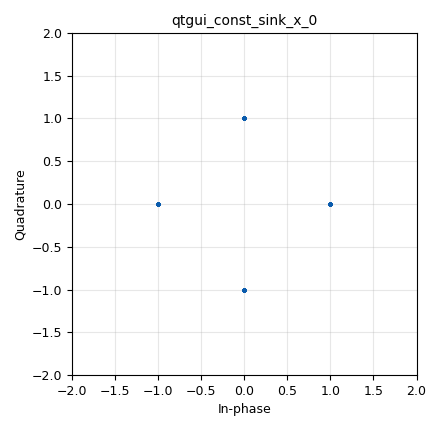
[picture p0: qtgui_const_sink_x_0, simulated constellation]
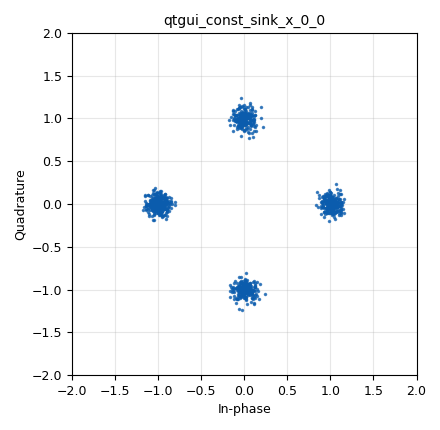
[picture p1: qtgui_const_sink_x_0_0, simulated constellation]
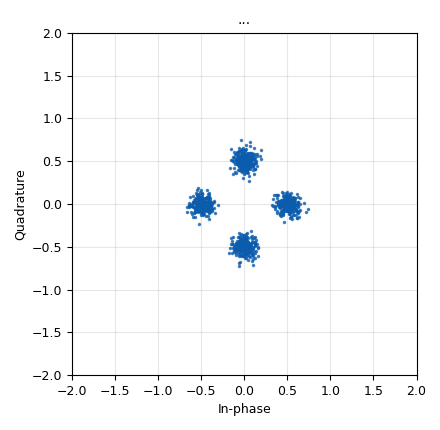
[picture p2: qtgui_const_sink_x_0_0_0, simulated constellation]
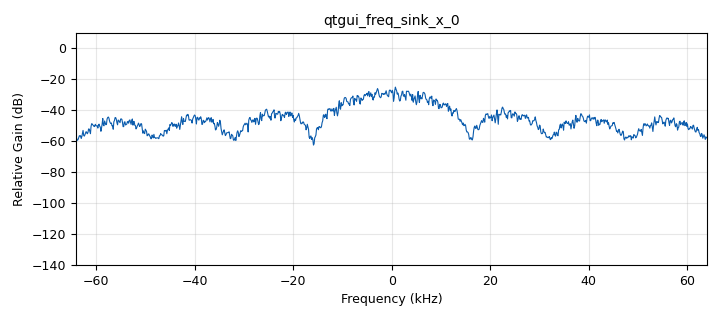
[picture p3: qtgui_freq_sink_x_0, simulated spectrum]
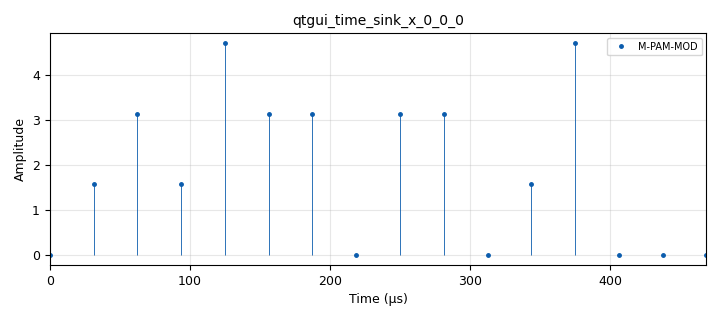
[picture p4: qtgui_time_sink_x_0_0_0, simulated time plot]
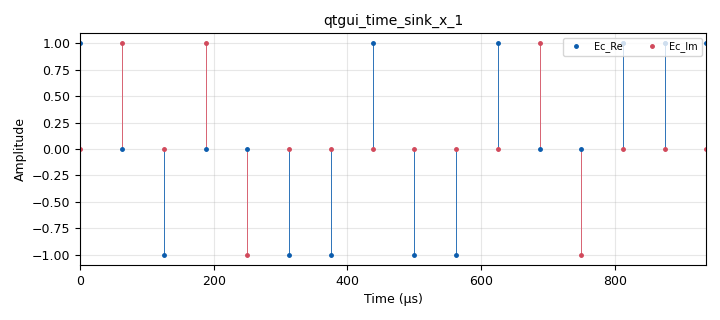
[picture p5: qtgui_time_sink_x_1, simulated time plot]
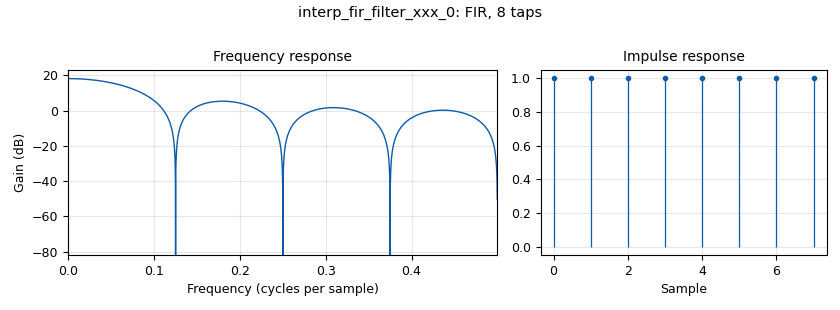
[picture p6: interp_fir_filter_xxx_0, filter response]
options:
  parameters:
    generate_options: qt_gui
    id: untitled
    output_language: python
    title: Not titled yet
  states: {}

blocks:
- name: H
  id: variable
  parameters:
    value: '[1,1,1,1,1,1,1,1]'
  states: {}
- name: M
  id: variable
  parameters:
    value: '4'
  states: {}
- name: Nbs
  id: variable
  parameters:
    value: int(math.log(M,2))
  states: {}
- name: Rb
  id: variable
  parameters:
    value: '32000'
  states: {}
- name: Rs
  id: variable
  parameters:
    value: Rb/Nbs
  states: {}
- name: Sps
  id: variable
  parameters:
    value: len(H)
  states: {}
- name: samp_rate
  id: variable
  parameters:
    value: Rs*Sps
  states: {}
- name: analog_const_source_x_0
  id: analog_const_source_x
  parameters:
    const: '1.'
    type: float
  states: {}
- name: analog_noise_source_x_0
  id: analog_noise_source_x
  parameters:
    amp: '0.1'
    noise_type: analog.GR_GAUSSIAN
    seed: '0'
    type: complex
  states: {}
- name: analog_noise_source_x_0_0
  id: analog_noise_source_x
  parameters:
    amp: '0.1'
    noise_type: analog.GR_GAUSSIAN
    seed: '0'
    type: complex
  states: {}
- name: analog_random_source_x_0
  id: analog_random_source_x
  parameters:
    max: '2'
    min: '0'
    num_samps: '1000'
    repeat: 'True'
    type: byte
  states: {}
- name: analog_random_source_x_0_0
  id: analog_random_source_x
  parameters:
    max: '4'
    min: '0'
    num_samps: '1000'
    repeat: 'True'
    type: byte
  states: {state: disabled}
- name: blocks_add_xx_0
  id: blocks_add_xx
  parameters:
    type: complex
  states: {}
- name: blocks_add_xx_0_0
  id: blocks_add_xx
  parameters:
    type: complex
  states: {}
- name: blocks_char_to_float_0
  id: blocks_char_to_float
  parameters:
    scale: '1'
  states: {state: disabled}
- name: blocks_char_to_float_0_0
  id: blocks_char_to_float
  parameters:
    scale: '1'
  states: {}
- name: blocks_char_to_float_0_0_0
  id: blocks_char_to_float
  parameters:
    scale: '1'
  states: {state: disabled}
- name: blocks_multiply_const_vxx_0
  id: blocks_multiply_const_vxx
  parameters:
    const: 2*math.pi/M
    type: float
  states: {}
- name: blocks_repack_bits_bb_0
  id: blocks_repack_bits_bb
  parameters:
    endianness: gr.GR_LSB_FIRST
    k: '1'
    l: Nbs
  states: {}
- name: blocks_repack_bits_bb_0_0
  id: blocks_repack_bits_bb
  parameters:
    endianness: gr.GR_LSB_FIRST
    k: '2'
    l: Nbs
  states: {}
- name: blocks_vector_source_x_1
  id: blocks_vector_source_x
  parameters:
    repeat: 'True'
    type: byte
    vector: (0, 1, 2, 3)
  states: {}
- name: digital_chunks_to_symbols_xx_0
  id: digital_chunks_to_symbols_xx
  parameters:
    dimension: '1'
    in_type: byte
    out_type: complex
    symbol_table: '[0.5, 0.5j,-0.5, -0.5j]'
  states: {}
- name: epy_block_0
  id: epy_block
  parameters:
    _source_code: "\n\nimport numpy as np\nfrom gnuradio import gr\n\nclass blk(gr.sync_block):  \n    \"\"\"This block is a Complex Exponential (CE) Voltage-Controlled Oscillator (VCO) or Baseband VCO. \n    It works by generating a complex exponential signal with amplitude and phase modulation.\n    \"\"\"\n\n    def __init__(self,):  \n        # Initialize the sync block with the specified input and output signal types\n        gr.sync_block.__init__(\n            self,\n            name='VCO Complex',  # Name of the block\n            in_sig=[np.float32, np.float32],  # Input: two float32 arrays (amplitude and phase)\n            out_sig=[np.complex64]  # Output: one complex64 array (modulated signal in complex form)\n        )\n        \n    def work(self, input_items, output_items):\n        # Get the amplitude (A) and phase (Q) from the input items\n        A = input_items[0]  # Amplitude input signal\n        Q = input_items[1]  # Phase input signal\n        Sec = output_items[0]  # Output signal array (modulated complex signal)\n\n        \n        # Generate the complex exponential output signal using the formula:\n        # y = A * exp(j*Q)\n        Sec[:] = A * np.exp(1j * Q)  # complex exponential signal\n        \n        \n        return len(Sec)"
  states: {}
- name: import_0
  id: import
  parameters:
    imports: import math
  states: {}
- name: interp_fir_filter_xxx_0
  id: interp_fir_filter_xxx
  parameters:
    interp: Sps
    taps: H
    type: ccc
  states: {}
- name: interp_fir_filter_xxx_0_0
  id: interp_fir_filter_xxx
  parameters:
    interp: Sps
    taps: H
    type: ccc
  states: {}
- name: qtgui_const_sink_x_0
  id: qtgui_const_sink_x
  parameters:
    size: '1024'
    type: complex
  states: {}
- name: qtgui_const_sink_x_0_0
  id: qtgui_const_sink_x
  parameters:
    size: '1024'
    type: complex
  states: {}
- name: qtgui_const_sink_x_0_0_0
  id: qtgui_const_sink_x
  parameters:
    name: '"..."'
    size: '1024'
    type: complex
  states: {}
- name: qtgui_freq_sink_x_0
  id: qtgui_freq_sink_x
  parameters:
    average: '0.05'
    bw: samp_rate
    fc: '0'
    fftsize: '1024'
    type: complex
  states: {}
- name: qtgui_time_sink_x_0
  id: qtgui_time_sink_x
  parameters:
    autoscale: 'True'
    grid: 'True'
    label1: Señal Binaria
    marker1: '0'
    size: '16'
    srate: Rb
    stemplot: 'True'
    type: float
  states: {state: disabled}
- name: qtgui_time_sink_x_0_0
  id: qtgui_time_sink_x
  parameters:
    autoscale: 'True'
    color1: dark blue
    grid: 'True'
    label1: M-PAM
    marker1: '0'
    size: '16'
    srate: Rb
    stemplot: 'True'
    type: float
  states: {state: disabled}
- name: qtgui_time_sink_x_0_0_0
  id: qtgui_time_sink_x
  parameters:
    autoscale: 'True'
    color1: dark blue
    grid: 'True'
    label1: M-PAM-MOD
    marker1: '0'
    size: '16'
    srate: Rb
    stemplot: 'True'
    type: float
  states: {}
- name: qtgui_time_sink_x_1
  id: qtgui_time_sink_x
  parameters:
    autoscale: 'True'
    grid: 'True'
    label1: Ec_Re
    label2: Ec_Im
    marker1: '0'
    marker2: '0'
    size: '16'
    srate: Rs
    stemplot: 'True'
    type: complex
  states: {}
- name: qtgui_time_sink_x_1_0
  id: qtgui_time_sink_x
  parameters:
    autoscale: 'True'
    grid: 'True'
    label1: Ec_Re
    label2: Ec_Im
    marker1: '0'
    marker2: '0'
    size: 32*Sps
    srate: samp_rate
    stemplot: 'True'
    type: complex
  states: {state: disabled}

connections:
- [analog_const_source_x_0, '0', epy_block_0, '0']
- [analog_noise_source_x_0, '0', blocks_add_xx_0, '0']
- [analog_noise_source_x_0_0, '0', blocks_add_xx_0_0, '0']
- [analog_random_source_x_0, '0', blocks_char_to_float_0, '0']
- [analog_random_source_x_0, '0', blocks_repack_bits_bb_0, '0']
- [analog_random_source_x_0_0, '0', blocks_repack_bits_bb_0_0, '0']
- [blocks_add_xx_0, '0', qtgui_const_sink_x_0_0, '0']
- [blocks_add_xx_0, '0', qtgui_freq_sink_x_0, '0']
- [blocks_add_xx_0_0, '0', qtgui_const_sink_x_0_0_0, '0']
- [blocks_char_to_float_0, '0', qtgui_time_sink_x_0, '0']
- [blocks_char_to_float_0_0, '0', blocks_multiply_const_vxx_0, '0']
- [blocks_char_to_float_0_0_0, '0', qtgui_time_sink_x_0_0, '0']
- [blocks_multiply_const_vxx_0, '0', epy_block_0, '1']
- [blocks_multiply_const_vxx_0, '0', qtgui_time_sink_x_0_0_0, '0']
- [blocks_repack_bits_bb_0, '0', blocks_char_to_float_0_0, '0']
- [blocks_repack_bits_bb_0, '0', blocks_char_to_float_0_0_0, '0']
- [blocks_repack_bits_bb_0_0, '0', digital_chunks_to_symbols_xx_0, '0']
- [blocks_vector_source_x_1, '0', blocks_repack_bits_bb_0_0, '0']
- [digital_chunks_to_symbols_xx_0, '0', interp_fir_filter_xxx_0_0, '0']
- [epy_block_0, '0', interp_fir_filter_xxx_0, '0']
- [epy_block_0, '0', qtgui_const_sink_x_0, '0']
- [epy_block_0, '0', qtgui_time_sink_x_1, '0']
- [interp_fir_filter_xxx_0, '0', blocks_add_xx_0, '1']
- [interp_fir_filter_xxx_0, '0', qtgui_time_sink_x_1_0, '0']
- [interp_fir_filter_xxx_0_0, '0', blocks_add_xx_0_0, '1']

metadata:
  file_format: 1
  grc_version: 3.10.12.0
